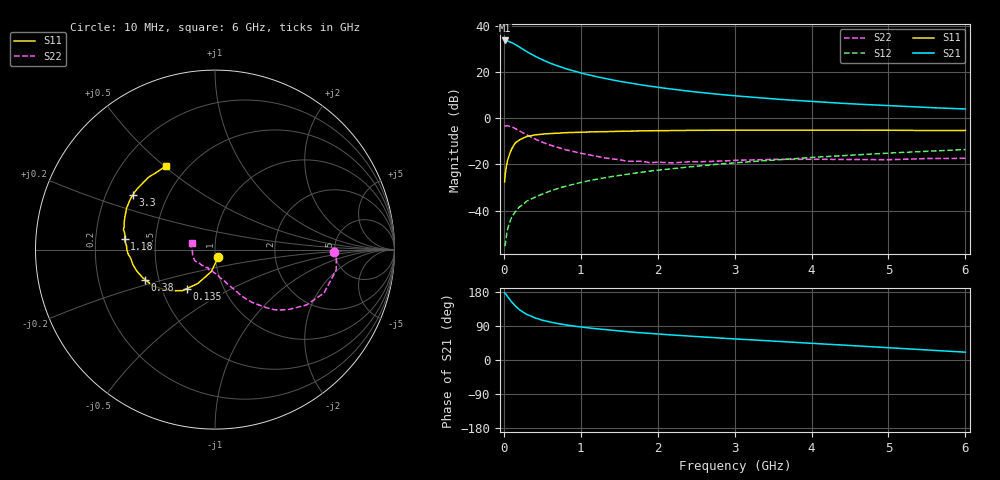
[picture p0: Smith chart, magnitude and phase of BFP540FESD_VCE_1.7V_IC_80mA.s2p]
! Infineon Technologies  Discrete & RF Semiconductors
! BFP540FESD
! VCE =  1.7 V,  IC =  80 mA
! Common Emitter S-Parameters:  Nov 2015
# GHz  S  MA  R  50
!  f  S11  S21  S12  S22
! GHz  MAG  ANG  MAG  ANG  MAG  ANG  MAG  ANG
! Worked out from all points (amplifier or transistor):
!   210 points, 10 MHz to 6 GHz, reference 50 ohm
!   highest |S21| = 33.6 dB at 10 MHz (marker M1)
!   |S21| within 3 dB of that: start of sweep to 209.5 MHz
!   unconditionally stable (mu >= 1): start of sweep to 89.03 MHz; 572.3 MHz to end of sweep
!   at 185 MHz: K = 0.82, MSG = 35.1 dB, |S12| = -39.1 dB
!   at 1.52 GHz: K = 1.16, MAG = 17.9 dB, |S12| = -24.7 dB
!   at 6 GHz: K = 1.27, MAG = 5.7 dB, |S12| = -13.6 dB
!   S11 on the Smith chart (normalised r, x): 10 MHz: 1.03, -0.08; 135 MHz: 0.67, -0.31; 380 MHz: 0.42, -0.17; 1.18 GHz: 0.33, +0.05; 3.3 GHz: 0.31, +0.27; 6 GHz: 0.38, +0.51
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0.01  0.0419 -69.5  47.77 177.7  0.0017 114.9  0.665 -1.3
0.02  0.065 -83.2  46.26 175.2  0.0019 94.4  0.6769 -1.1
0.05  0.1248 -99.7  46.5 166.9  0.004 94.4  0.6849 -9.5
0.1  0.2122 -117.0  43.26 153.4  0.007 81.3  0.6537 -21.7
0.135  0.2666 -125.6  40.24 145.9  0.0087 76.9  0.6111 -28.2
0.15  0.2912 -128.3  39.18 142.3  0.0094 75.5  0.5954 -31.2
0.2  0.335 -136.7  34.62 133.1  0.0119 71.6  0.5315 -38.8
0.26  0.3759 -145.3  29.91 124.9  0.014 69.7  0.4692 -45.5
0.3  0.4004 -149.8  27.24 120.1  0.0161 69.5  0.4301 -48.7
0.38  0.4246 -156.9  22.93 113.4  0.0187 68.1  0.3703 -53.7
0.5  0.4523 -164.8  18.19 104.9  0.0227 69.5  0.2999 -60.0
0.6  0.465 -169.6  15.41 100.1  0.0264 69.7  0.2606 -62.9
0.8  0.4848 -177.2  11.78 92.6  0.0335 70.3  0.2077 -69.7
1.02  0.4952 177.0  9.296 86.6  0.0412 69.4  0.1711 -75.4
1.18  0.5064 173.5  8.025 83.0  0.0465 69.2  0.153 -81.4
1.5  0.5219 167.9  6.267 76.6  0.0572 67.2  0.1266 -93.9
2.02  0.5352 159.5  4.585 68.3  0.0753 64.3  0.1111 -117.2
3.1  0.549 148.5  2.948 54.6  0.1108 57.7  0.1231 -145.4
3.3  0.5494 146.6  2.77 52.3  0.1171 56.2  0.1255 -148.4
4.1  0.5489 140.5  2.237 42.9  0.1442 50.8  0.1285 -160.6
5.1  0.5452 131.3  1.827 31.2  0.1784 42.5  0.1272 -176.5
6  0.5408 120.5  1.576 20.7  0.2089 34.6  0.1352 164.8
